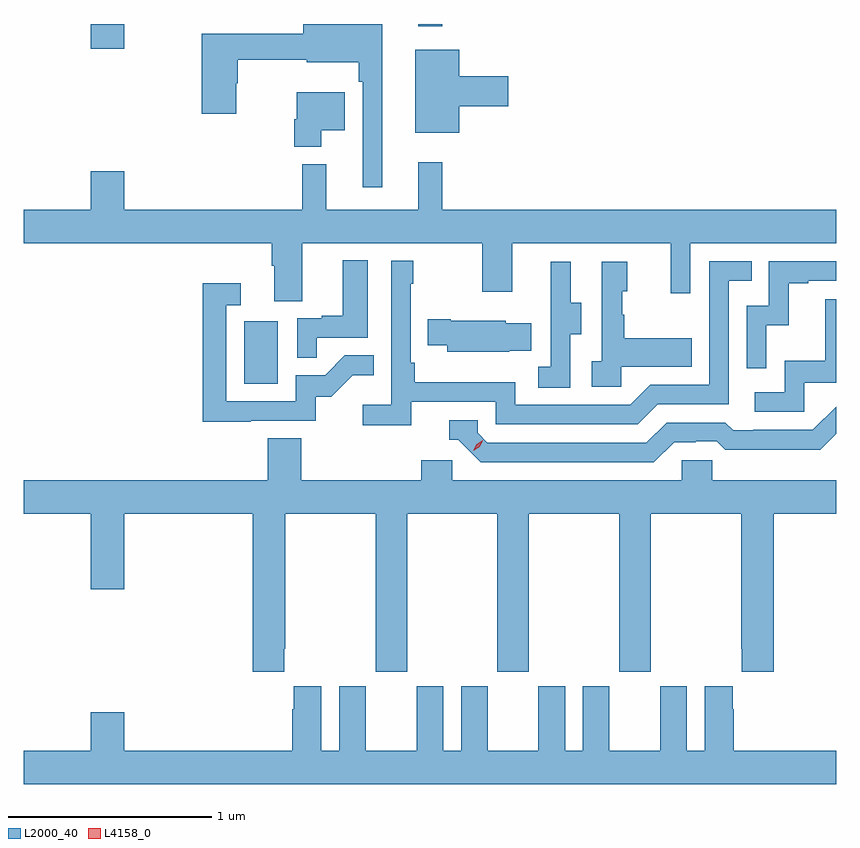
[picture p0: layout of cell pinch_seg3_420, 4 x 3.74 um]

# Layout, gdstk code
import gdstk
lib = gdstk.Library(unit=1e-6, precision=1e-09)
def R(c, l, rs):  # rectangles x0, y0, x1, y1
    for r in rs: c.add(gdstk.rectangle(r[:2], r[2:], *l))
def P(c, l, *ps):  # polygons
    for p in ps: c.add(gdstk.Polygon(p, *l))
L2000_40 = (2000, 40)
L4158_0 = (4158, 0)

pinch_seg3_420 = lib.new_cell('pinch_seg3_420')
R(pinch_seg3_420, L2000_40, [(921.008,704.22,921.172,704.527), (920.252,705.87,920.416,705.991), (921.866,705.981,921.983,705.991)])
P(pinch_seg3_420, L2000_40, [(921.688,705.991),(921.298,705.991),(921.298,705.943),(920.798,705.943),(920.798,705.549),(920.968,705.549),(920.968,705.699),(920.976,705.699),(920.976,705.814),(921.317,705.814),(921.317,705.803),(921.571,705.803),(921.571,705.707),(921.591,705.707),(921.591,705.186),(921.688,705.186)],
  [(922.066,705.587),(922.309,705.587),(922.309,705.734),(922.066,705.734),(922.066,705.865),(921.851,705.865),(921.851,705.455),(922.066,705.455)],
  [(921.388,705.467),(921.502,705.467),(921.502,705.655),(921.266,705.655),(921.266,705.522),(921.254,705.522),(921.254,705.386),(921.388,705.386)],
  [(921.295,704.912),(922.18,704.912),(922.18,704.673),(922.327,704.673),(922.327,704.912),(923.108,704.912),(923.108,704.664),(923.205,704.664),(923.205,704.912),(923.923,704.912),(923.923,705.076),(921.983,705.076),(921.983,705.31),(921.866,705.31),(921.866,705.076),(921.413,705.076),(921.413,705.301),(921.295,705.301),(921.295,705.076),(920.416,705.076),(920.416,705.265),(920.252,705.265),(920.252,705.076),(919.923,705.076),(919.923,704.912),(921.143,704.912),(921.143,704.8),(921.155,704.8),(921.155,704.626),(921.295,704.626)],
  [(921.365,704.445),(921.616,704.445),(921.616,704.827),(921.494,704.827),(921.494,704.554),(921.391,704.554),(921.391,704.541),(921.27,704.541),(921.27,704.347),(921.365,704.347)],
  [(921.83,704.13),(922.248,704.13),(922.248,704.019),(922.945,704.019),(923.044,704.118),(923.394,704.118),(923.394,704.727),(923.507,704.727),(923.507,704.823),(923.298,704.823),(923.298,704.214),(923.007,704.214),(922.908,704.115),(922.344,704.115),(922.344,704.227),(921.848,704.227),(921.848,704.323),(921.828,704.323),(921.828,704.711),(921.841,704.711),(921.841,704.824),(921.732,704.824),(921.732,704.116),(921.591,704.116),(921.591,704.014),(921.83,704.014)],
  [(923.58,704.507),(923.69,704.507),(923.69,704.715),(923.785,704.715),(923.785,704.727),(923.923,704.727),(923.923,704.823),(923.592,704.823),(923.592,704.604),(923.484,704.604),(923.484,704.295),(923.58,704.295)],
  [(922.614,704.464),(922.669,704.464),(922.669,704.619),(922.615,704.619),(922.615,704.821),(922.517,704.821),(922.517,704.607),(922.518,704.607),(922.518,704.303),(922.455,704.303),(922.455,704.2),(922.614,704.2)],
  [(922.866,704.303),(923.213,704.303),(923.213,704.443),(922.879,704.443),(922.879,704.558),(922.869,704.558),(922.869,704.676),(922.894,704.676),(922.894,704.821),(922.77,704.821),(922.77,704.33),(922.719,704.33),(922.719,704.205),(922.866,704.205)],
  [(921.041,704.037),(921.36,704.037),(921.36,704.154),(921.436,704.154),(921.543,704.261),(921.647,704.261),(921.647,704.36),(921.504,704.36),(921.406,704.262),(921.261,704.262),(921.261,704.133),(920.919,704.133),(920.919,704.607),(920.992,704.607),(920.992,704.713),(920.803,704.713),(920.803,704.032),(921.041,704.032)],
  [(923.766,704.223),(923.923,704.223),(923.923,704.635),(923.869,704.635),(923.869,704.332),(923.67,704.332),(923.67,704.178),(923.523,704.178),(923.523,704.082),(923.766,704.082)],
  [(922.313,704.381),(922.421,704.381),(922.421,704.518),(922.296,704.518),(922.296,704.53),(922.024,704.53),(922.024,704.538),(921.913,704.538),(921.913,704.408),(922.007,704.408),(922.007,704.378),(922.313,704.378)],
  [(923.125,703.932),(923.232,703.932),(923.232,703.935),(923.335,703.935),(923.377,703.893),(923.61,703.893),(923.61,703.895),(923.846,703.895),(923.923,703.972),(923.923,704.107),(923.808,703.992),(923.515,703.992),(923.515,703.989),(923.416,703.989),(923.377,704.028),(923.088,704.028),(922.989,703.929),(922.206,703.929),(922.158,703.977),(922.158,704.04),(922.019,704.04),(922.019,703.944),(922.062,703.944),(922.173,703.833),(923.026,703.833)],
  [(921.29,703.952),(921.125,703.952),(921.125,703.744),(919.923,703.744),(919.923,703.58),(920.252,703.58),(920.252,703.206),(920.416,703.206),(920.416,703.58),(921.05,703.58),(921.05,702.801),(921.205,702.801),(921.205,702.913),(921.21,702.913),(921.21,703.58),(921.655,703.58),(921.655,702.801),(921.81,702.801),(921.81,703.58),(922.255,703.58),(922.255,702.801),(922.41,702.801),(922.41,703.58),(922.855,703.58),(922.855,702.801),(923.01,702.801),(923.01,703.58),(923.455,703.58),(923.455,702.913),(923.459,702.913),(923.459,702.801),(923.615,702.801),(923.615,703.58),(923.923,703.58),(923.923,703.744),(923.313,703.744),(923.313,703.842),(923.163,703.842),(923.163,703.744),(922.032,703.744),(922.032,703.842),(921.881,703.842),(921.881,703.744),(921.29,703.744)],
  [(923.923,702.412),(923.42,702.412),(923.42,702.617),(923.413,702.617),(923.413,702.73),(923.276,702.73),(923.276,702.412),(923.188,702.412),(923.188,702.73),(923.057,702.73),(923.057,702.412),(922.807,702.412),(922.807,702.73),(922.676,702.73),(922.676,702.412),(922.588,702.412),(922.588,702.73),(922.457,702.73),(922.457,702.412),(922.207,702.412),(922.207,702.73),(922.076,702.73),(922.076,702.412),(921.988,702.412),(921.988,702.73),(921.857,702.73),(921.857,702.412),(921.607,702.412),(921.607,702.73),(921.476,702.73),(921.476,702.412),(921.388,702.412),(921.388,702.73),(921.251,702.73),(921.251,702.617),(921.245,702.617),(921.245,702.412),(920.416,702.412),(920.416,702.601),(920.252,702.601),(920.252,702.412),(919.923,702.412),(919.923,702.248),(923.923,702.248)])
P(pinch_seg3_420, L4158_0, [(922.137,703.889),(922.137,703.889),(922.153,703.922),(922.183,703.942),(922.183,703.942),(922.183,703.942),(922.168,703.909),(922.137,703.889)])

lib.write_gds('pinch_seg3_420.gds')
